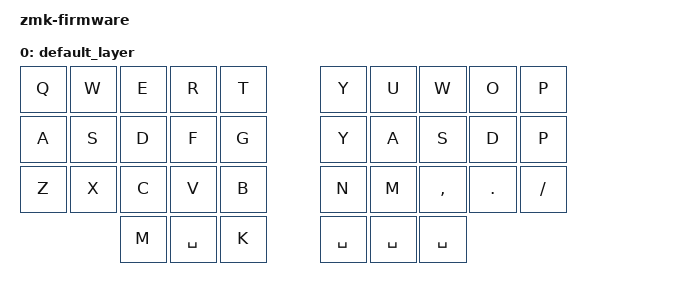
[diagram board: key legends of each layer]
// Copyright (c) 2022 The ZMK Contributors
// SPDX-License-Identifier: MIT

#include <behaviors.dtsi>
#include <dt-bindings/zmk/keys.h>
#include <dt-bindings/zmk/bt.h>

// Home row mods macro
#define HRML(k1,k2,k3,k4) &ht LCTRL k1  &ht LALT k2  &ht LGUI k3  &ht LSHFT k4
#define HRMR(k1,k2,k3,k4) &ht RSHFT k1  &ht RGUI k2  &ht RALT k3  &ht RCTRL k4

#define BASE 0
#define SYMB 1
#define NUM 2
#define FUNC 3
#define EXTR 4


/ {
    compatible = "zmk,firmware";
    model = "zmk-firmware";

    behaviors {
        td_mt: tap_dance_mod_tap {
            compatible = "zmk,behavior-tap-dance";
            #binding-cells = <0>;
            tapping-term-ms = <200>;
            //hold tap, tap tap
            bindings = <&kp LSHFT>, <&kp LCTRL>, <&kp LALT>;
        };

        ht: hold_tap {
            compatible = "zmk,behavior-hold-tap";
            #binding-cells = <2>;
            flavor = "tap-preferred";
            tapping-term-ms = <220>;
            quick-tap-ms = <150>;
            require-prior-idle-ms = <100>;
            bindings = <&kp>, <&kp>;
        };
        toly: to_lyr {
            compatible = "zmk,behavior-tap-dance";
            #binding-cells = <0>;
            tapping-term-ms = <200>;
            bindings = <&to 0>, <&to 1>, <&to 2>;
        };
    };

    conditional_layers {
        compatible = "zmk,conditional-layers";
        tri_layer {
            if-layers = <1 2>;
            then-layer = <3>;
        };
    };

    keymap {
        compatible = "zmk,keymap";

        default_layer {
            bindings = <
            &kp Q    &kp W   &kp E     &kp R     &kp T                                                 &kp Y     &kp U     &kp W     &kp O     &kp P
            &kp A    &kp S    &kp D     &kp F     &kp G                                                 &kp Y     &kp A     &kp S    &kp D     &kp P
            &kp Z    &kp X    &kp C     &kp V     &kp B                                                 &kp N     &kp M     &kp COMMA &kp DOT   &kp FSLH
                                &kp M  &kp SPACE  &kp K                     &kp SPACE  &kp SPACE  &kp SPACE 
            >;
        };

    };


};
